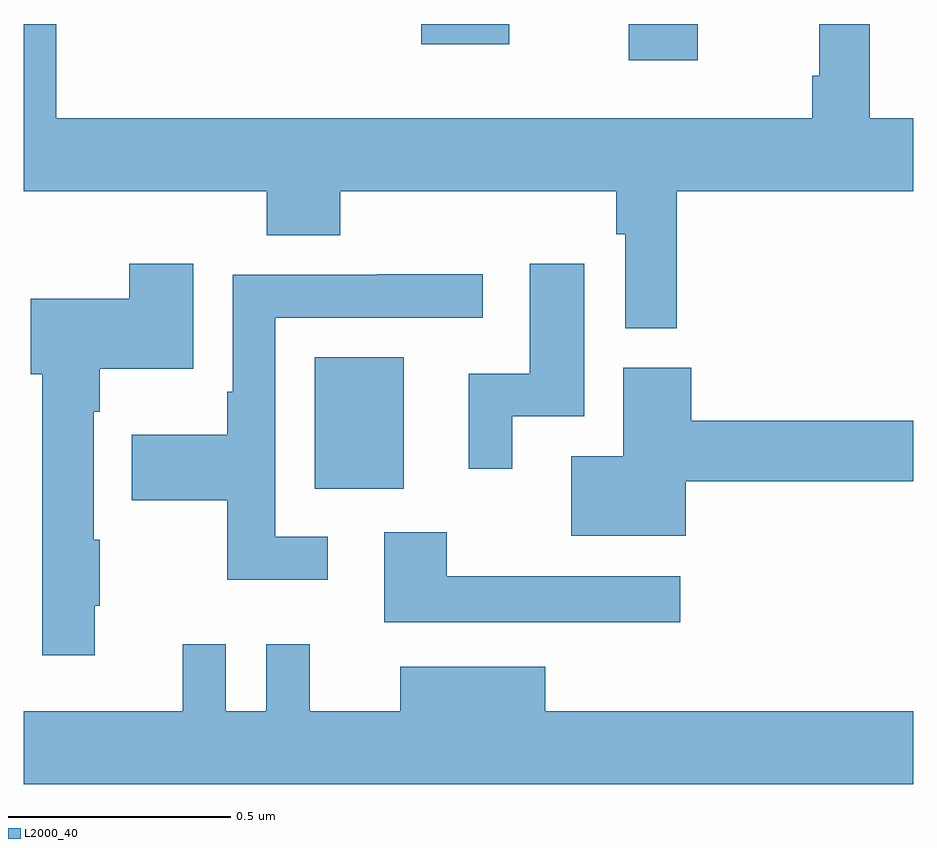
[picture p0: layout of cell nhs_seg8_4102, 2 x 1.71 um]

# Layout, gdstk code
import gdstk
lib = gdstk.Library(unit=1e-6, precision=1e-09)
def R(c, l, rs):  # rectangles x0, y0, x1, y1
    for r in rs: c.add(gdstk.rectangle(r[:2], r[2:], *l))
def P(c, l, *ps):  # polygons
    for p in ps: c.add(gdstk.Polygon(p, *l))
L2000_40 = (2000, 40)

nhs_seg8_4102 = lib.new_cell('nhs_seg8_4102')
R(nhs_seg8_4102, L2000_40, [(166.655,1091.855,166.855,1092.151), (167.36,1092.819,167.515,1092.9), (166.894,1092.854,167.092,1092.9)])
P(nhs_seg8_4102, L2000_40, [(167.468,1092.524),(168,1092.524),(168,1092.688),(167.902,1092.688),(167.902,1092.9),(167.788,1092.9),(167.788,1092.784),(167.773,1092.784),(167.773,1092.688),(166.073,1092.688),(166.073,1092.9),(166,1092.9),(166,1092.524),(166.547,1092.524),(166.547,1092.425),(166.712,1092.425),(166.712,1092.524),(167.332,1092.524),(167.332,1092.428),(167.352,1092.428),(167.352,1092.216),(167.468,1092.216)],
  [(167.098,1092.018),(167.26,1092.018),(167.26,1092.361),(167.138,1092.361),(167.138,1092.114),(167,1092.114),(167,1091.901),(167.098,1091.901)],
  [(166.16,1091.593),(166.171,1091.593),(166.171,1091.741),(166.158,1091.741),(166.158,1092.029),(166.171,1092.029),(166.171,1092.125),(166.381,1092.125),(166.381,1092.361),(166.238,1092.361),(166.238,1092.283),(166.016,1092.283),(166.016,1092.113),(166.042,1092.113),(166.042,1091.481),(166.16,1091.481)],
  [(166.684,1091.748),(166.566,1091.748),(166.566,1092.24),(167.032,1092.24),(167.032,1092.338),(166.795,1092.338),(166.795,1092.336),(166.47,1092.336),(166.47,1092.073),(166.458,1092.073),(166.458,1091.977),(166.243,1091.977),(166.243,1091.83),(166.458,1091.83),(166.458,1091.651),(166.684,1091.651)],
  [(167.488,1091.872),(168,1091.872),(168,1092.008),(167.501,1092.008),(167.501,1092.127),(167.348,1092.127),(167.348,1091.929),(167.231,1091.929),(167.231,1091.75),(167.488,1091.75)],
  [(167.476,1091.659),(166.951,1091.659),(166.951,1091.758),(166.811,1091.758),(166.811,1091.555),(167.476,1091.555)],
  [(168,1091.356),(167.173,1091.356),(167.173,1091.455),(166.847,1091.455),(166.847,1091.356),(166.643,1091.356),(166.643,1091.506),(166.545,1091.506),(166.545,1091.356),(166.455,1091.356),(166.455,1091.506),(166.358,1091.506),(166.358,1091.356),(166,1091.356),(166,1091.192),(168,1091.192)])

lib.write_gds('nhs_seg8_4102.gds')
